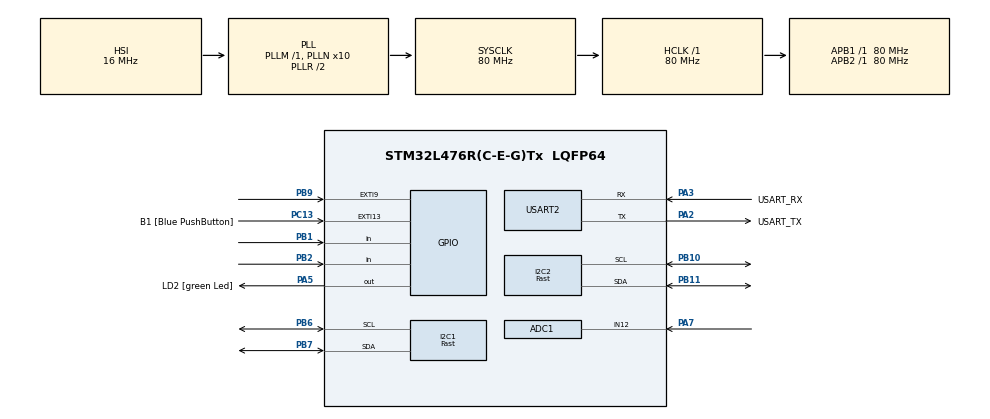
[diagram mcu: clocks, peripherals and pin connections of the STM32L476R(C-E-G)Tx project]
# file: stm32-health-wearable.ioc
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ADC1.Channel-0\#ChannelRegularConversion=ADC_CHANNEL_12
ADC1.NbrOfConversionFlag=1
ADC1.OffsetNumber-0\#ChannelRegularConversion=ADC_OFFSET_NONE
ADC1.Rank-0\#ChannelRegularConversion=1
ADC1.SamplingTime-0\#ChannelRegularConversion=ADC_SAMPLETIME_2CYCLES_5
ADC1.master=1
FREERTOS.Tasks01=defaultTask,24,128,StartDefaultTask,Default,NULL,Dynamic,NULL,NULL
FREERTOS.configTOTAL_HEAP_SIZE=15360
FREERTOS.configUSE_NEWLIB_REENTRANT=1
I2C1.I2C_Speed_Mode=I2C_Fast
I2C1.Timing=0x00F12981
I2C2.I2C_Speed_Mode=I2C_Fast
I2C2.Timing=0x00F12981
Mcu.Family=STM32L4
Mcu.Name=STM32L476R(C-E-G)Tx
Mcu.Package=LQFP64
NVIC.EXTI9_5_IRQn=true\:5\:0\:false\:false\:true\:false\:true\:true\:true
NVIC.I2C1_ER_IRQn=true\:5\:0\:false\:false\:true\:true\:true\:true\:true
NVIC.I2C1_EV_IRQn=true\:5\:0\:false\:false\:true\:true\:true\:true\:true
NVIC.I2C2_ER_IRQn=true\:5\:0\:false\:false\:true\:true\:true\:true\:true
NVIC.I2C2_EV_IRQn=true\:5\:0\:false\:false\:true\:true\:true\:true\:true
NVIC.PriorityGroup=NVIC_PRIORITYGROUP_4
NVIC.TIM6_DAC_IRQn=true\:15\:0\:false\:false\:true\:false\:false\:true\:true
NVIC.TimeBase=TIM6_DAC_IRQn
NVIC.TimeBaseIP=TIM6
PA13\ (JTMS-SWDIO).GPIO_Label=TMS
PA13\ (JTMS-SWDIO).Mode=Serial_Wire
PA13\ (JTMS-SWDIO).Signal=SYS_JTMS-SWDIO
PA14\ (JTCK-SWCLK).GPIO_Label=TCK
PA14\ (JTCK-SWCLK).Mode=Serial_Wire
PA14\ (JTCK-SWCLK).Signal=SYS_JTCK-SWCLK
PA2.GPIO_Label=USART_TX
PA2.GPIO_Mode=GPIO_MODE_AF_PP
PA2.GPIO_PuPd=GPIO_NOPULL
PA2.GPIO_Speed=GPIO_SPEED_FREQ_VERY_HIGH
PA2.Mode=Asynchronous
PA2.Signal=USART2_TX
PA3.GPIO_Label=USART_RX
PA3.GPIO_Mode=GPIO_MODE_AF_PP
PA3.GPIO_PuPd=GPIO_NOPULL
PA3.GPIO_Speed=GPIO_SPEED_FREQ_VERY_HIGH
PA3.Mode=Asynchronous
PA3.Signal=USART2_RX
PA5.GPIO_Label=LD2 [green Led]
PA5.GPIO_ModeDefaultOutputPP=GPIO_MODE_OUTPUT_PP
PA5.GPIO_PuPd=GPIO_NOPULL
PA5.GPIO_Speed=GPIO_SPEED_FREQ_LOW
PA5.Signal=GPIO_Output
PA7.Signal=ADCx_IN12
PB1.Signal=GPIO_Input
PB10.Mode=I2C
PB10.Signal=I2C2_SCL
PB11.Mode=I2C
PB11.Signal=I2C2_SDA
PB2.Signal=GPIO_Input
PB3\ (JTDO-TRACESWO).GPIO_Label=SWO
PB3\ (JTDO-TRACESWO).Signal=SYS_JTDO-SWO
PB6.Mode=I2C
PB6.Signal=I2C1_SCL
PB7.Mode=I2C
PB7.Signal=I2C1_SDA
PB9.GPIO_ModeDefaultEXTI=GPIO_MODE_IT_FALLING
PB9.GPIO_PuPd=GPIO_PULLUP
PB9.Signal=GPXTI9
PC13.GPIO_Label=B1 [Blue PushButton]
PC13.GPIO_ModeDefaultEXTI=GPIO_MODE_IT_FALLING
PC13.GPIO_PuPd=GPIO_NOPULL
PC13.Signal=GPXTI13
PC14-OSC32_IN\ (PC14).Mode=LSE-External-Oscillator
PC14-OSC32_IN\ (PC14).Signal=RCC_OSC32_IN
PC15-OSC32_OUT\ (PC15).Mode=LSE-External-Oscillator
PC15-OSC32_OUT\ (PC15).Signal=RCC_OSC32_OUT
PH0-OSC_IN\ (PH0).Signal=RCC_OSC_IN
PH1-OSC_OUT\ (PH1).Signal=RCC_OSC_OUT
ProjectManager.HeapSize=0x200
ProjectManager.StackSize=0x400
ProjectManager.TargetToolchain=STM32CubeIDE
RCC.ADCFreq_Value=64000000
RCC.AHBFreq_Value=80000000
RCC.APB1Freq_Value=80000000
RCC.APB1TimFreq_Value=80000000
RCC.APB2Freq_Value=80000000
RCC.APB2TimFreq_Value=80000000
RCC.CortexFreq_Value=80000000
RCC.HCLKFreq_Value=80000000
RCC.HSE_VALUE=8000000
RCC.HSI_VALUE=16000000
RCC.MSI_VALUE=4000000
RCC.PLLN=10
RCC.PLLSourceVirtual=RCC_PLLSOURCE_HSI
RCC.PREFETCH_ENABLE=1
RCC.SYSCLKFreq_VALUE=80000000
RCC.SYSCLKSource=RCC_SYSCLKSOURCE_PLLCLK
RCC.USBFreq_Value=64000000
RCC.VCOOutputFreq_Value=160000000
SH.ADCx_IN12.0=ADC1_IN12,IN12-Single-Ended
USART2.VirtualMode-Asynchronous=VM_ASYNC
VP_FREERTOS_VS_CMSIS_V2.Mode=CMSIS_V2
VP_SYS_VS_tim6.Mode=TIM6
board=NUCLEO-L476RG

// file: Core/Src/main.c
/* USER CODE BEGIN Header */
/**
  ******************************************************************************
  * @file           : main.c
  * @brief          : Main program body
  ******************************************************************************
  * @attention
  *
  * Copyright (c) 2026 STMicroelectronics.
  * All rights reserved.
  *
  * This software is licensed under terms that can be found in the LICENSE file
  * in the root directory of this software component.
  * If no LICENSE file comes with this software, it is provided AS-IS.
  *
  ******************************************************************************
  */
/* USER CODE END Header */
#include "main.h"
#include "cmsis_os.h"

/* USER CODE BEGIN Includes */
#include <stdio.h>
#include <math.h>

#include "FreeRTOS.h"
#include "task.h"
#include "semphr.h"

#include "i2c_bus.h"
#include "algorithms.h"
#include "max30102.h"
#include "bmi270.h"

/* USER CODE END Includes */

/* USER CODE BEGIN PTD */
typedef enum {
	SRC_AD8232,
	SRC_BMI270,
	SRC_MAX30102,
} source_t;

typedef struct {
	source_t source;
	uint32_t timestamp;
	union {
		struct {
			uint16_t adc_data;
		} ad8232;
		struct {
			int16_t acc_x, acc_y, acc_z, gyr_x, gyr_y, gyr_z;
			int32_t acc_mag, gyr_mag;
		} bmi270;
		struct {
			uint32_t ir_data;
		} max30102;
	} data;
} log_msg_t;
/* USER CODE END PTD */

ADC_HandleTypeDef hadc1;

I2C_HandleTypeDef hi2c1;
I2C_HandleTypeDef hi2c2;

UART_HandleTypeDef huart2;

/* Definitions for defaultTask */
osThreadId_t defaultTaskHandle;
const osThreadAttr_t defaultTask_attributes = {
  .name = "defaultTask",
  .stack_size = 128 * 4,
  .priority = (osPriority_t) osPriorityNormal,
};
/* USER CODE BEGIN PV */
TaskHandle_t xAD8232TaskHandle = NULL;
TaskHandle_t xBMI270TaskHandle = NULL;
TaskHandle_t xMAX30102TaskHandle = NULL;
TaskHandle_t xLogTaskHandle = NULL;

QueueHandle_t xPlotQueue;
max30102_t max30102;

fall_state_t state = IDLE;
int exit_code = EXIT_UNKNOWN; // always assume failure in defensive programming

static bmi270_data_t stability_data[NUM_STABILITY_SAMPLES];
static int32_t stability_acc_mag[NUM_STABILITY_SAMPLES];
static int32_t stability_gyr_mag[NUM_STABILITY_SAMPLES];
/* USER CODE END PV */

void SystemClock_Config(void);
static void MX_GPIO_Init(void);
static void MX_USART2_UART_Init(void);
static void MX_ADC1_Init(void);
static void MX_I2C1_Init(void);
static void MX_I2C2_Init(void);
void StartDefaultTask(void *argument);

/* USER CODE BEGIN PFP */
void vAD8232Task(void *pvParameters);
void vBMI270Task(void *pvParameters);
void vMAX30102Task(void *pvParameters);
void vLogTask(void *pvParameters);

static void queue_motion_data(bmi270_data_t data, long acc_mag, long gyr_mag);
static void collect_sample_points(bmi270_data_t *databuf, uint16_t num_samples);
/* USER CODE END PFP */

int main(void)
{

  /* MCU Configuration--------------------------------------------------------*/

  /* Reset of all peripherals, Initializes the Flash interface and the Systick. */
  HAL_Init();

  /* Configure the system clock */
  SystemClock_Config();

  /* Initialize all configured peripherals */
  MX_GPIO_Init();
  MX_USART2_UART_Init();
  MX_ADC1_Init();
  MX_I2C1_Init();
  MX_I2C2_Init();

  /* Init scheduler */
  osKernelInitialize();

  /* USER CODE BEGIN RTOS_SEMAPHORES */
  /* add semaphores, ... */
  if (i2c_bus_init(&hi2c1, &hi2c2) != 0) {
	  printf("i2c buses failed to initialize semaphores \r\n");
	  return -1;
  }
  /* USER CODE END RTOS_SEMAPHORES */

  /* USER CODE BEGIN RTOS_QUEUES */
  /* add queues, ... */
  xPlotQueue = xQueueCreate(30, sizeof(log_msg_t));
  if (xPlotQueue == NULL) {
	  printf("xPlotQueue failed to intiailize \r\n");
	  return -1;
  }
  /* USER CODE END RTOS_QUEUES */

  /* Create the thread(s) */
  /* creation of defaultTask */
  defaultTaskHandle = osThreadNew(StartDefaultTask, NULL, &defaultTask_attributes);

  /* USER CODE BEGIN RTOS_THREADS */
  /* add threads, ... */
  if (xTaskCreate(vAD8232Task, "vAD8232Task", 350, NULL, 2, &xAD8232TaskHandle) != pdPASS) {
	  printf("AD8232Task create failed\r\n");
  }

  if (xTaskCreate(vBMI270Task, "vBMI270Task", 350, NULL, 2, &xBMI270TaskHandle) != pdPASS) {
	  printf("BMI270Task create failed\r\n");
  }

  if (xTaskCreate(vMAX30102Task, "vMAX30102Task", 350, NULL, 2, &xMAX30102TaskHandle) != pdPASS) {
	  printf("MAX30102Task create failed\r\n");
  }

  if (xTaskCreate(vLogTask, "vLogTask", 512, NULL, 2, &xLogTaskHandle) != pdPASS) {
	  printf("LogTask create failed \r\n");
  }
  /* USER CODE END RTOS_THREADS */

  /* Start scheduler */
  osKernelStart();

  /* We should never get here as control is now taken by the scheduler */

  /* Infinite loop */
  while (1)
  {

  }
}

void SystemClock_Config(void)
{
  RCC_OscInitTypeDef RCC_OscInitStruct = {0};
  RCC_ClkInitTypeDef RCC_ClkInitStruct = {0};

  /** Configure the main internal regulator output voltage
  */
  if (HAL_PWREx_ControlVoltageScaling(PWR_REGULATOR_VOLTAGE_SCALE1) != HAL_OK)
  {
    Error_Handler();
  }

  /** Initializes the RCC Oscillators according to the specified parameters
  * in the RCC_OscInitTypeDef structure.
  */
  RCC_OscInitStruct.OscillatorType = RCC_OSCILLATORTYPE_HSI;
  RCC_OscInitStruct.HSIState = RCC_HSI_ON;
  RCC_OscInitStruct.HSICalibrationValue = RCC_HSICALIBRATION_DEFAULT;
  RCC_OscInitStruct.PLL.PLLState = RCC_PLL_ON;
  RCC_OscInitStruct.PLL.PLLSource = RCC_PLLSOURCE_HSI;
  RCC_OscInitStruct.PLL.PLLM = 1;
  RCC_OscInitStruct.PLL.PLLN = 10;
  RCC_OscInitStruct.PLL.PLLP = RCC_PLLP_DIV7;
  RCC_OscInitStruct.PLL.PLLQ = RCC_PLLQ_DIV2;
  RCC_OscInitStruct.PLL.PLLR = RCC_PLLR_DIV2;
  if (HAL_RCC_OscConfig(&RCC_OscInitStruct) != HAL_OK)
  {
    Error_Handler();
  }

  /** Initializes the CPU, AHB and APB buses clocks
  */
  RCC_ClkInitStruct.ClockType = RCC_CLOCKTYPE_HCLK|RCC_CLOCKTYPE_SYSCLK
                              |RCC_CLOCKTYPE_PCLK1|RCC_CLOCKTYPE_PCLK2;
  RCC_ClkInitStruct.SYSCLKSource = RCC_SYSCLKSOURCE_PLLCLK;
  RCC_ClkInitStruct.AHBCLKDivider = RCC_SYSCLK_DIV1;
  RCC_ClkInitStruct.APB1CLKDivider = RCC_HCLK_DIV1;
  RCC_ClkInitStruct.APB2CLKDivider = RCC_HCLK_DIV1;

  if (HAL_RCC_ClockConfig(&RCC_ClkInitStruct, FLASH_LATENCY_4) != HAL_OK)
  {
    Error_Handler();
  }
}

static void MX_ADC1_Init(void)
{

  ADC_MultiModeTypeDef multimode = {0};
  ADC_ChannelConfTypeDef sConfig = {0};

  /** Common config
  */
  hadc1.Instance = ADC1;
  hadc1.Init.ClockPrescaler = ADC_CLOCK_ASYNC_DIV1;
  hadc1.Init.Resolution = ADC_RESOLUTION_12B;
  hadc1.Init.DataAlign = ADC_DATAALIGN_RIGHT;
  hadc1.Init.ScanConvMode = ADC_SCAN_DISABLE;
  hadc1.Init.EOCSelection = ADC_EOC_SINGLE_CONV;
  hadc1.Init.LowPowerAutoWait = DISABLE;
  hadc1.Init.ContinuousConvMode = DISABLE;
  hadc1.Init.NbrOfConversion = 1;
  hadc1.Init.DiscontinuousConvMode = DISABLE;
  hadc1.Init.ExternalTrigConv = ADC_SOFTWARE_START;
  hadc1.Init.ExternalTrigConvEdge = ADC_EXTERNALTRIGCONVEDGE_NONE;
  hadc1.Init.DMAContinuousRequests = DISABLE;
  hadc1.Init.Overrun = ADC_OVR_DATA_PRESERVED;
  hadc1.Init.OversamplingMode = DISABLE;
  if (HAL_ADC_Init(&hadc1) != HAL_OK)
  {
    Error_Handler();
  }

  /** Configure the ADC multi-mode
  */
  multimode.Mode = ADC_MODE_INDEPENDENT;
  if (HAL_ADCEx_MultiModeConfigChannel(&hadc1, &multimode) != HAL_OK)
  {
    Error_Handler();
  }

  /** Configure Regular Channel
  */
  sConfig.Channel = ADC_CHANNEL_12;
  sConfig.Rank = ADC_REGULAR_RANK_1;
  sConfig.SamplingTime = ADC_SAMPLETIME_2CYCLES_5;
  sConfig.SingleDiff = ADC_SINGLE_ENDED;
  sConfig.OffsetNumber = ADC_OFFSET_NONE;
  sConfig.Offset = 0;
  if (HAL_ADC_ConfigChannel(&hadc1, &sConfig) != HAL_OK)
  {
    Error_Handler();
  }

}

static void MX_I2C1_Init(void)
{

  hi2c1.Instance = I2C1;
  hi2c1.Init.Timing = 0x00F12981;
  hi2c1.Init.OwnAddress1 = 0;
  hi2c1.Init.AddressingMode = I2C_ADDRESSINGMODE_7BIT;
  hi2c1.Init.DualAddressMode = I2C_DUALADDRESS_DISABLE;
  hi2c1.Init.OwnAddress2 = 0;
  hi2c1.Init.OwnAddress2Masks = I2C_OA2_NOMASK;
  hi2c1.Init.GeneralCallMode = I2C_GENERALCALL_DISABLE;
  hi2c1.Init.NoStretchMode = I2C_NOSTRETCH_DISABLE;
  if (HAL_I2C_Init(&hi2c1) != HAL_OK)
  {
    Error_Handler();
  }

  /** Configure Analogue filter
  */
  if (HAL_I2CEx_ConfigAnalogFilter(&hi2c1, I2C_ANALOGFILTER_ENABLE) != HAL_OK)
  {
    Error_Handler();
  }

  /** Configure Digital filter
  */
  if (HAL_I2CEx_ConfigDigitalFilter(&hi2c1, 0) != HAL_OK)
  {
    Error_Handler();
  }

}

static void MX_I2C2_Init(void)
{

  hi2c2.Instance = I2C2;
  hi2c2.Init.Timing = 0x00F12981;
  hi2c2.Init.OwnAddress1 = 0;
  hi2c2.Init.AddressingMode = I2C_ADDRESSINGMODE_7BIT;
  hi2c2.Init.DualAddressMode = I2C_DUALADDRESS_DISABLE;
  hi2c2.Init.OwnAddress2 = 0;
  hi2c2.Init.OwnAddress2Masks = I2C_OA2_NOMASK;
  hi2c2.Init.GeneralCallMode = I2C_GENERALCALL_DISABLE;
  hi2c2.Init.NoStretchMode = I2C_NOSTRETCH_DISABLE;
  if (HAL_I2C_Init(&hi2c2) != HAL_OK)
  {
    Error_Handler();
  }

  /** Configure Analogue filter
  */
  if (HAL_I2CEx_ConfigAnalogFilter(&hi2c2, I2C_ANALOGFILTER_ENABLE) != HAL_OK)
  {
    Error_Handler();
  }

  /** Configure Digital filter
  */
  if (HAL_I2CEx_ConfigDigitalFilter(&hi2c2, 0) != HAL_OK)
  {
    Error_Handler();
  }

}

static void MX_USART2_UART_Init(void)
{

  huart2.Instance = USART2;
  huart2.Init.BaudRate = 115200;
  huart2.Init.WordLength = UART_WORDLENGTH_8B;
  huart2.Init.StopBits = UART_STOPBITS_1;
  huart2.Init.Parity = UART_PARITY_NONE;
  huart2.Init.Mode = UART_MODE_TX_RX;
  huart2.Init.HwFlowCtl = UART_HWCONTROL_NONE;
  huart2.Init.OverSampling = UART_OVERSAMPLING_16;
  huart2.Init.OneBitSampling = UART_ONE_BIT_SAMPLE_DISABLE;
  huart2.AdvancedInit.AdvFeatureInit = UART_ADVFEATURE_NO_INIT;
  if (HAL_UART_Init(&huart2) != HAL_OK)
  {
    Error_Handler();
  }

}

static void MX_GPIO_Init(void)
{
  GPIO_InitTypeDef GPIO_InitStruct = {0};

  /* GPIO Ports Clock Enable */
  __HAL_RCC_GPIOC_CLK_ENABLE();
  __HAL_RCC_GPIOH_CLK_ENABLE();
  __HAL_RCC_GPIOA_CLK_ENABLE();
  __HAL_RCC_GPIOB_CLK_ENABLE();

  /*Configure GPIO pin Output Level */
  HAL_GPIO_WritePin(LD2_GPIO_Port, LD2_Pin, GPIO_PIN_RESET);

  /*Configure GPIO pin : B1_Pin */
  GPIO_InitStruct.Pin = B1_Pin;
  GPIO_InitStruct.Mode = GPIO_MODE_IT_FALLING;
  GPIO_InitStruct.Pull = GPIO_NOPULL;
  HAL_GPIO_Init(B1_GPIO_Port, &GPIO_InitStruct);

  /*Configure GPIO pin : LD2_Pin */
  GPIO_InitStruct.Pin = LD2_Pin;
  GPIO_InitStruct.Mode = GPIO_MODE_OUTPUT_PP;
  GPIO_InitStruct.Pull = GPIO_NOPULL;
  GPIO_InitStruct.Speed = GPIO_SPEED_FREQ_LOW;
  HAL_GPIO_Init(LD2_GPIO_Port, &GPIO_InitStruct);

  /*Configure GPIO pins : PB1 PB2 */
  GPIO_InitStruct.Pin = GPIO_PIN_1|GPIO_PIN_2;
  GPIO_InitStruct.Mode = GPIO_MODE_INPUT;
  GPIO_InitStruct.Pull = GPIO_NOPULL;
  HAL_GPIO_Init(GPIOB, &GPIO_InitStruct);

  /*Configure GPIO pin : PB9 */
  GPIO_InitStruct.Pin = GPIO_PIN_9;
  GPIO_InitStruct.Mode = GPIO_MODE_IT_FALLING;
  GPIO_InitStruct.Pull = GPIO_PULLUP;
  HAL_GPIO_Init(GPIOB, &GPIO_InitStruct);

  /* EXTI interrupt init*/
  HAL_NVIC_SetPriority(EXTI9_5_IRQn, 5, 0);
  HAL_NVIC_EnableIRQ(EXTI9_5_IRQn);

}

/* USER CODE BEGIN 4 */

int __io_putchar(int ch) {
    uint8_t c = (uint8_t)ch;
    HAL_UART_Transmit(&huart2, &c, 1, HAL_MAX_DELAY);
    return ch;
}
void vAD8232Task(void *pvParameters)
{
  /* USER CODE BEGIN 5 */
  uint16_t adc_value = 0;
  uint8_t lo_minus = 0;
  uint8_t lo_plus = 0;

  uint8_t prev_lo_minus = 0;
  uint32_t stable_ms;
  const uint32_t AD8232_SAMPLE_PERIOD_MS = 10;
  const uint32_t REQUIRED_STABLE_MS = 1000;
  /* Infinite loop */
  for(;;)
  {
	  if (state == IDLE) {
		  lo_minus = HAL_GPIO_ReadPin(GPIOB, GPIO_PIN_1);
		  lo_plus = HAL_GPIO_ReadPin(GPIOB, GPIO_PIN_2);

		  // make stable_ms 0 if we detect any lo_minus transition
		  if (lo_plus != 0 || lo_minus != 0 || lo_minus != prev_lo_minus) {
			  stable_ms = 0;
		  } else {
			  stable_ms += AD8232_SAMPLE_PERIOD_MS;
		  }
		  prev_lo_minus = lo_minus;

		  // collect data only if all 3 electrodes are connected
		  if (stable_ms >= REQUIRED_STABLE_MS) {
			  HAL_ADC_Start(&hadc1);

			  HAL_ADC_PollForConversion(&hadc1, 1);

			  adc_value = HAL_ADC_GetValue(&hadc1);

			  log_msg_t msg;

			  msg.source = SRC_AD8232;

			  msg.timestamp = HAL_GetTick();

			  msg.data.ad8232.adc_data = adc_value;

			  // xTicksToWait = 0 implies that we are fine with occasionaly missing data
			  xQueueSend(xPlotQueue, &msg, 0);
		  }
	  }
	  osDelay(AD8232_SAMPLE_PERIOD_MS);
  }
  /* USER CODE END 5 */
}

void vBMI270Task(void *pvParameters)
{
  /* USER CODE BEGIN 5 */

	if (bmi270_init(&hi2c1) == -1) {
		printf("Error, bmi270 failed to initialize\r\n");
		vTaskDelete(NULL);
	}

	bmi270_init_normal(&hi2c1);

	state = IDLE;
	exit_code = NORMAL_OPERATION;

	bmi270_data_t data = {0};
	long acc_mag = 0;
	long gyr_mag = 0;

	/* USER CODE END 2 */

	/* Infinite loop */
	/* USER CODE BEGIN WHILE */
	for (;;) {

		while (exit_code == NORMAL_OPERATION) {
			bmi270_get_motion_data(&hi2c1, &data);
			acc_mag = calculate_acc_mag(data);
			gyr_mag = calculate_gyr_mag(data);
			queue_motion_data(data, acc_mag, gyr_mag);
			switch(state) {
				case IDLE:
					if ((acc_mag <= WEIGHTLESS_THRESHOLD) && (acc_mag != 0)) {
						state = FREEFALL;
					}
					break;
				case FREEFALL:
					uint8_t impact_found = 0; // 0 for no impact, 1 for yes impact
					collect_sample_points(stability_data, NUM_STABILITY_SAMPLES);
					// find out if there is a sudden acceleration change to suggest a fall occured
					for (size_t i = 0; i < NUM_STABILITY_SAMPLES; i++) {
						if (stability_acc_mag[i] >= IMPACT_THRESHOLD) {
							impact_found = 1;
							break;
						}
					}
					state = impact_found ? STABCHECK1: IDLE;
					break;
				// from here on, we are post-processing the fall to check for stability
				case STABCHECK1:
					int32_t stddev_acc = 0;
					stddev_acc = calculate_stddev(&stability_acc_mag[150], 50);
					if (stddev_acc < STABILITY_THRESHOLD_ACC) {
						state = STABCHECK2;
					} else {
						state = IDLE;
					}
					break;
				case STABCHECK2:
					int32_t stddev_gyr = 0;
					stddev_gyr = calculate_stddev(&stability_gyr_mag[150], 50);
					if (stddev_gyr < STABILITY_THRESHOLD_GYR) {
						state = FALL_OCCURED;
					} else {
						state = IDLE;
					}
					break;
				case FALL_OCCURED:
					state = IDLE;
					HAL_GPIO_WritePin(GPIOA, GPIO_PIN_5, GPIO_PIN_SET);
					osDelay(1000);
					HAL_GPIO_WritePin(GPIOA, GPIO_PIN_5, GPIO_PIN_RESET);
					break;
			}
			osDelay(10);
		}
	}
  /* USER CODE END 5 */
}

static void queue_motion_data(bmi270_data_t data, long acc_mag, long gyr_mag) {

	log_msg_t msg;
	msg.source = SRC_BMI270;
	msg.timestamp = HAL_GetTick();
	msg.data.bmi270.acc_x = data.acc_x;
	msg.data.bmi270.acc_y = data.acc_y;
	msg.data.bmi270.acc_z = data.acc_z;
	msg.data.bmi270.gyr_x = data.gyr_x;
	msg.data.bmi270.gyr_y = data.gyr_y;
	msg.data.bmi270.gyr_z = data.gyr_z;
	msg.data.bmi270.acc_mag = acc_mag;
	msg.data.bmi270.gyr_mag = gyr_mag;
	// xTicksToWait = 0 implies that we are fine with occasionaly missing data
	xQueueSend(xPlotQueue, &msg, 0);
}

static void collect_sample_points(bmi270_data_t *databuf, uint16_t num_samples) {
	int32_t acc_mag = 0;
	int32_t gyr_mag = 0;
	for (size_t i = 0; i < num_samples; i++) {
		bmi270_get_motion_data(&hi2c1, &databuf[i]);
		acc_mag = calculate_acc_mag(databuf[i]);
		gyr_mag = calculate_gyr_mag(databuf[i]);
		stability_acc_mag[i] = acc_mag;
		stability_gyr_mag[i] = gyr_mag;
		queue_motion_data(databuf[i], acc_mag, gyr_mag);
		osDelay(10);
	}
}

void vMAX30102Task(void *pvParameters)
{
  /* USER CODE BEGIN 5 */
  /* Infinite loop */
	max30102_init(&max30102, &hi2c2);
	max30102_reset(&max30102);
	max30102_clear_fifo(&max30102);
	max30102_init_fifo(&max30102, max30102_smp_ave_8, 1, 7);

	max30102_set_led_pulse_width(&max30102, max30102_pw_16_bit);
	max30102_set_adc_resolution(&max30102, max30102_adc_2048);
	max30102_set_sampling_rate(&max30102, max30102_sr_800);
	max30102_set_led_current_1(&max30102, 6.2);

	max30102_set_mode(&max30102, max30102_heart_rate);
	max30102_set_ppg_ready(&max30102, 1);

	for (;;) {
		if (max30102_has_interrupt(&max30102)) {
			max30102_interrupt_handler(&max30102);
		}
	}
  /* USER CODE END 5 */
}

// Override plot function
void max30102_plot(uint32_t ir_sample)
{
	if (state == IDLE) {
		log_msg_t msg;
		msg.source = SRC_MAX30102;
		msg.timestamp = HAL_GetTick();
		msg.data.max30102.ir_data = ir_sample;
		// xTicksToWait = 0 implies we are fine with dropping data occasionaly
		xQueueSend(xPlotQueue, &msg, 0);
	}
}

void vLogTask(void *pvParameters)
{
  /* USER CODE BEGIN 5 */
  log_msg_t msg;
  /* Infinite loop */
  for(;;)
  {
	  // wait until there is 1 or more items, then drain all items
      xQueueReceive(xPlotQueue, &msg, portMAX_DELAY);
      do {
    	  // printing logic
    	  if (msg.source == SRC_AD8232) {
    		  printf("ad8232,%d\r\n", msg.data.ad8232.adc_data);
    	  }
    	    else if (msg.source == SRC_MAX30102) {
    		  printf("max30102,%lu\r\n", msg.data.max30102.ir_data);
    	  } else if (msg.source == SRC_BMI270) {
    			printf("bmi270,%d,%d,%d,%d,%d,%d,%lu,%lu\r\n", msg.data.bmi270.acc_x, msg.data.bmi270.acc_y, msg.data.bmi270.acc_z,
    					msg.data.bmi270.gyr_x, msg.data.bmi270.gyr_y, msg.data.bmi270.gyr_z, msg.data.bmi270.acc_mag, msg.data.bmi270.gyr_mag);
    	  }
      } while (xQueueReceive(xPlotQueue, &msg, 0) == pdTRUE);
  }
  /* USER CODE END 5 */
}

/* USER CODE END 4 */

void StartDefaultTask(void *argument)
{
  for(;;)
  {
    osDelay(1);
  }
}

void HAL_TIM_PeriodElapsedCallback(TIM_HandleTypeDef *htim)
{
  if (htim->Instance == TIM6)
  {
    HAL_IncTick();
  }
}

void Error_Handler(void)
{
  __disable_irq();
  while (1)
  {
  }
}
